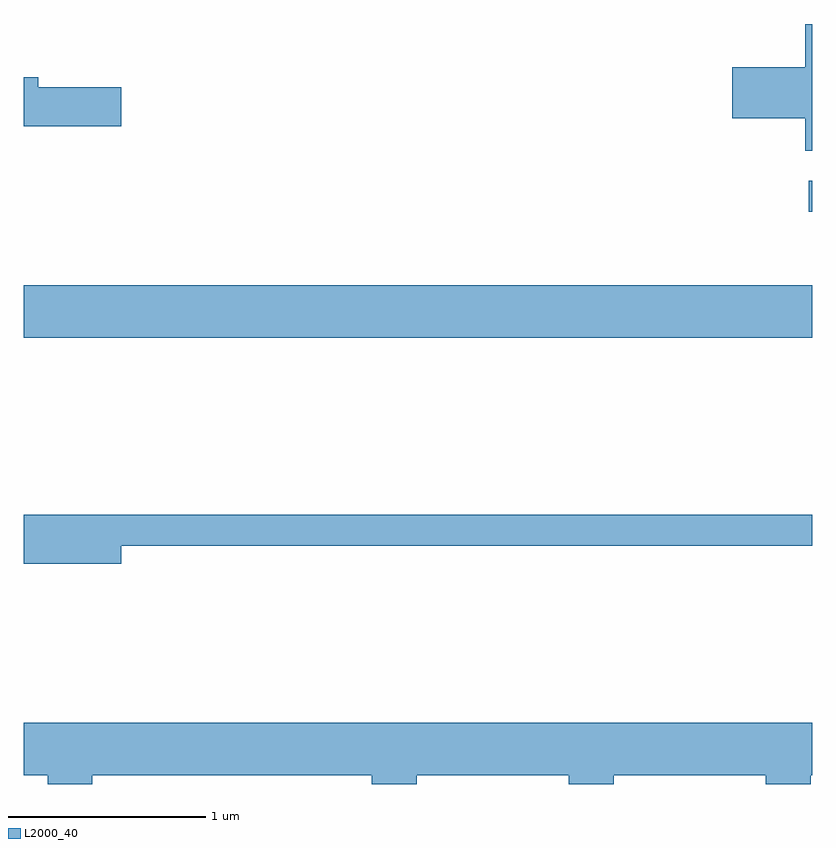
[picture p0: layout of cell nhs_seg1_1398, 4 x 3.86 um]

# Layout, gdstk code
import gdstk
lib = gdstk.Library(unit=1e-6, precision=1e-09)
def R(c, l, rs):  # rectangles x0, y0, x1, y1
    for r in rs: c.add(gdstk.rectangle(r[:2], r[2:], *l))
def P(c, l, *ps):  # polygons
    for p in ps: c.add(gdstk.Polygon(p, *l))
L2000_40 = (2000, 40)

nhs_seg1_1398 = lib.new_cell('nhs_seg1_1398')
R(nhs_seg1_1398, L2000_40, [(227.611,943.976,231.611,944.244), (231.593,944.616,231.611,944.774)])
P(nhs_seg1_1398, L2000_40, [(231.611,945.569),(231.576,945.569),(231.576,945.349),(231.206,945.349),(231.206,945.091),(231.576,945.091),(231.576,944.926),(231.611,944.926)],
  [(228.104,945.249),(227.684,945.249),(227.684,945.299),(227.611,945.299),(227.611,945.051),(228.104,945.051)],
  [(228.104,942.921),(231.611,942.921),(231.611,943.079),(227.611,943.079),(227.611,942.831),(228.104,942.831)],
  [(227.959,941.756),(229.376,941.756),(229.376,941.712),(229.604,941.712),(229.604,941.756),(230.376,941.756),(230.376,941.712),(230.604,941.712),(230.604,941.756),(231.376,941.756),(231.376,941.712),(231.604,941.712),(231.604,941.756),(231.611,941.756),(231.611,942.024),(227.611,942.024),(227.611,941.756),(227.731,941.756),(227.731,941.712),(227.959,941.712)])

lib.write_gds('nhs_seg1_1398.gds')
